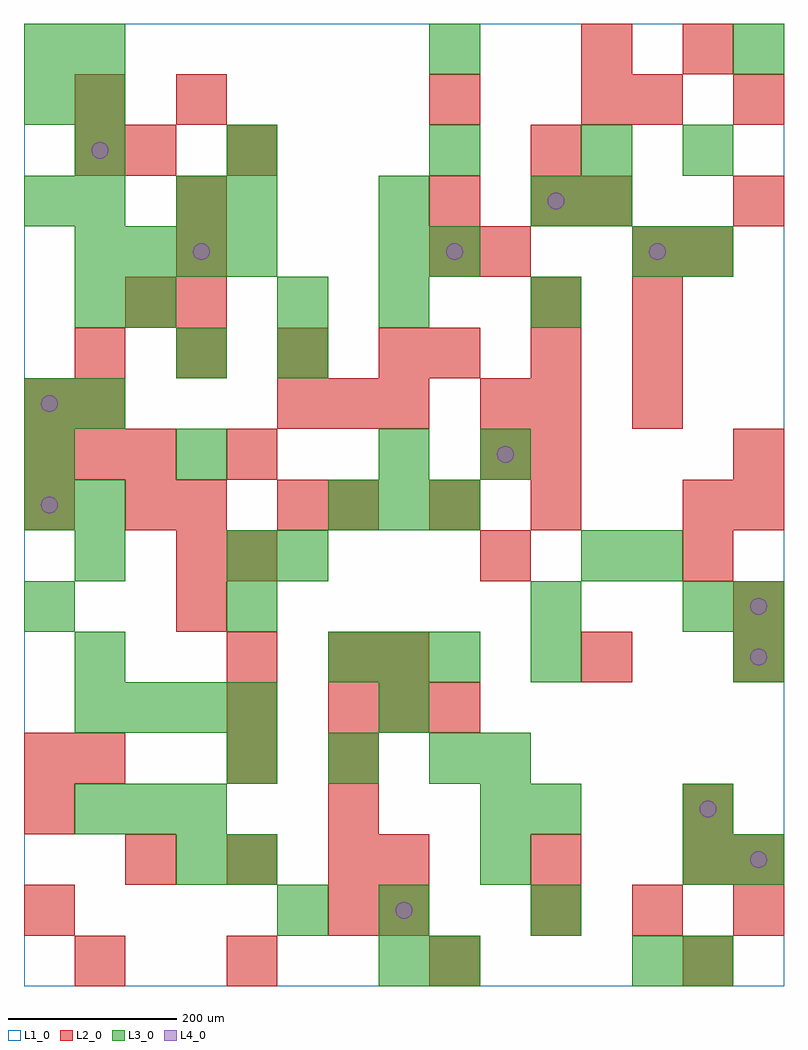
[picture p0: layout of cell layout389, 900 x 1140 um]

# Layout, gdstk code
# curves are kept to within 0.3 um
import gdstk
lib = gdstk.Library(unit=1e-6, precision=1e-09)
def R(c, l, rs):  # rectangles x0, y0, x1, y1
    for r in rs: c.add(gdstk.rectangle(r[:2], r[2:], *l))
def A(c, l, x, y, w, h, nx, ny, dx, dy):  # array of equal rectangles
    R(c, l, [(x+i*dx, y+j*dy, x+i*dx+w, y+j*dy+h) for i in range(nx) for j in range(ny)])
def P(c, l, *ps):  # polygons
    for p in ps: c.add(gdstk.Polygon(p, *l))
L1_0 = (1, 0)
L2_0 = (2, 0)
L3_0 = (3, 0)
L4_0 = (4, 0)

layout389 = lib.new_cell('layout389')
R(layout389, L1_0, [(0,0,900,1140)])
A(layout389, L2_0, 600, 60, 60, 60, 3, 1, 120, 0)
A(layout389, L2_0, 120, 120, 60, 60, 3, 1, 120, 0)
A(layout389, L2_0, 420, 120, 60, 60, 3, 1, 180, 0)
A(layout389, L2_0, 240, 240, 60, 60, 1, 3, 0, 60)
A(layout389, L2_0, 360, 300, 60, 60, 3, 1, 60, 0)
A(layout389, L2_0, 180, 420, 60, 60, 1, 3, 0, 60)
A(layout389, L2_0, 360, 540, 60, 60, 3, 1, 120, 0)
A(layout389, L2_0, 0, 600, 60, 60, 3, 1, 60, 0)
A(layout389, L2_0, 300, 660, 60, 60, 3, 1, 60, 0)
A(layout389, L2_0, 600, 660, 60, 60, 1, 3, 0, 120)
A(layout389, L2_0, 60, 720, 60, 60, 4, 1, 120, 0)
A(layout389, L2_0, 480, 720, 60, 60, 3, 1, 120, 0)
A(layout389, L2_0, 180, 780, 60, 60, 1, 3, 0, 60)
R(layout389, L2_0, [(60,0,120,60), (240,0,300,60), (480,0,540,60), (780,0,840,60), (0,60,60,120), (360,60,420,120), (420,60,480,120), (840,120,900,180), (0,180,60,240), (360,180,420,240), (780,180,840,240), (0,240,60,300), (60,240,120,300), (360,240,420,300), (360,360,420,420), (420,360,480,420), (660,360,720,420), (840,360,900,420), (840,420,900,480), (240,480,300,540), (540,480,600,540), (780,480,840,540), (0,540,60,600), (120,540,180,600), (300,540,360,600), (780,540,840,600), (840,540,900,600), (240,600,300,660), (540,600,600,660), (600,600,660,660), (840,600,900,660), (0,660,60,720), (60,660,120,720), (540,660,600,720), (720,660,780,720), (120,780,180,840), (720,780,780,840), (480,840,540,900), (540,840,600,900), (720,840,780,900), (780,840,840,900), (480,900,540,960), (660,900,720,960), (840,900,900,960), (60,960,120,1020), (120,960,180,1020), (240,960,300,1020), (600,960,660,1020), (60,1020,120,1080), (180,1020,240,1080), (480,1020,540,1080), (660,1020,720,1080), (720,1020,780,1080), (840,1020,900,1080), (660,1080,720,1140), (780,1080,840,1140)])
A(layout389, L3_0, 540, 120, 60, 60, 1, 3, 0, 60)
A(layout389, L3_0, 60, 180, 60, 60, 3, 1, 60, 0)
A(layout389, L3_0, 240, 240, 60, 60, 3, 1, 120, 0)
A(layout389, L3_0, 60, 300, 60, 60, 4, 2, 60, 540)
A(layout389, L3_0, 360, 360, 60, 60, 3, 2, 60, 180)
A(layout389, L3_0, 0, 540, 60, 60, 1, 3, 0, 60)
A(layout389, L3_0, 60, 540, 60, 60, 1, 4, 0, 120)
A(layout389, L3_0, 480, 840, 60, 60, 1, 3, 0, 120)
A(layout389, L3_0, 240, 900, 60, 60, 3, 1, 180, 0)
A(layout389, L3_0, 60, 960, 60, 60, 1, 3, 0, 60)
R(layout389, L3_0, [(420,0,480,60), (480,0,540,60), (720,0,780,60), (780,0,840,60), (300,60,360,120), (420,60,480,120), (600,60,660,120), (180,120,240,180), (240,120,300,180), (780,120,840,180), (840,120,900,180), (600,180,660,240), (780,180,840,240), (420,300,480,360), (60,360,120,420), (600,360,660,420), (840,360,900,420), (0,420,60,480), (240,420,300,480), (600,420,660,480), (780,420,840,480), (840,420,900,480), (60,480,120,540), (240,480,300,540), (300,480,360,540), (660,480,720,540), (720,480,780,540), (180,600,240,660), (420,600,480,660), (540,600,600,660), (180,720,240,780), (300,720,360,780), (120,780,180,840), (300,780,360,840), (420,780,480,840), (600,780,660,840), (420,840,480,900), (720,840,780,900), (780,840,840,900), (0,900,60,960), (180,900,240,960), (660,900,720,960), (240,960,300,1020), (660,960,720,1020), (780,960,840,1020), (0,1020,60,1080), (0,1080,60,1140), (840,1080,900,1140)])
P(layout389, L4_0, [(40,570),(39.239,573.827),(37.071,577.071),(33.827,579.239),(30,580),(26.173,579.239),(22.929,577.071),(20.761,573.827),(20,570),(20.761,566.173),(22.929,562.929),(26.173,560.761),(30,560),(33.827,560.761),(37.071,562.929),(39.239,566.173)],
  [(40,690),(39.239,693.827),(37.071,697.071),(33.827,699.239),(30,700),(26.173,699.239),(22.929,697.071),(20.761,693.827),(20,690),(20.761,686.173),(22.929,682.929),(26.173,680.761),(30,680),(33.827,680.761),(37.071,682.929),(39.239,686.173)],
  [(100,990),(99.239,993.827),(97.071,997.071),(93.827,999.239),(90,1000),(86.173,999.239),(82.929,997.071),(80.761,993.827),(80,990),(80.761,986.173),(82.929,982.929),(86.173,980.761),(90,980),(93.827,980.761),(97.071,982.929),(99.239,986.173)],
  [(220,870),(219.239,873.827),(217.071,877.071),(213.827,879.239),(210,880),(206.173,879.239),(202.929,877.071),(200.761,873.827),(200,870),(200.761,866.173),(202.929,862.929),(206.173,860.761),(210,860),(213.827,860.761),(217.071,862.929),(219.239,866.173)],
  [(460,90),(459.239,93.827),(457.071,97.071),(453.827,99.239),(450,100),(446.173,99.239),(442.929,97.071),(440.761,93.827),(440,90),(440.761,86.173),(442.929,82.929),(446.173,80.761),(450,80),(453.827,80.761),(457.071,82.929),(459.239,86.173)],
  [(520,870),(519.239,873.827),(517.071,877.071),(513.827,879.239),(510,880),(506.173,879.239),(502.929,877.071),(500.761,873.827),(500,870),(500.761,866.173),(502.929,862.929),(506.173,860.761),(510,860),(513.827,860.761),(517.071,862.929),(519.239,866.173)],
  [(580,630),(579.239,633.827),(577.071,637.071),(573.827,639.239),(570,640),(566.173,639.239),(562.929,637.071),(560.761,633.827),(560,630),(560.761,626.173),(562.929,622.929),(566.173,620.761),(570,620),(573.827,620.761),(577.071,622.929),(579.239,626.173)],
  [(640,930),(639.239,933.827),(637.071,937.071),(633.827,939.239),(630,940),(626.173,939.239),(622.929,937.071),(620.761,933.827),(620,930),(620.761,926.173),(622.929,922.929),(626.173,920.761),(630,920),(633.827,920.761),(637.071,922.929),(639.239,926.173)],
  [(760,870),(759.239,873.827),(757.071,877.071),(753.827,879.239),(750,880),(746.173,879.239),(742.929,877.071),(740.761,873.827),(740,870),(740.761,866.173),(742.929,862.929),(746.173,860.761),(750,860),(753.827,860.761),(757.071,862.929),(759.239,866.173)],
  [(820,210),(819.239,213.827),(817.071,217.071),(813.827,219.239),(810,220),(806.173,219.239),(802.929,217.071),(800.761,213.827),(800,210),(800.761,206.173),(802.929,202.929),(806.173,200.761),(810,200),(813.827,200.761),(817.071,202.929),(819.239,206.173)],
  [(880,150),(879.239,153.827),(877.071,157.071),(873.827,159.239),(870,160),(866.173,159.239),(862.929,157.071),(860.761,153.827),(860,150),(860.761,146.173),(862.929,142.929),(866.173,140.761),(870,140),(873.827,140.761),(877.071,142.929),(879.239,146.173)],
  [(880,390),(879.239,393.827),(877.071,397.071),(873.827,399.239),(870,400),(866.173,399.239),(862.929,397.071),(860.761,393.827),(860,390),(860.761,386.173),(862.929,382.929),(866.173,380.761),(870,380),(873.827,380.761),(877.071,382.929),(879.239,386.173)],
  [(880,450),(879.239,453.827),(877.071,457.071),(873.827,459.239),(870,460),(866.173,459.239),(862.929,457.071),(860.761,453.827),(860,450),(860.761,446.173),(862.929,442.929),(866.173,440.761),(870,440),(873.827,440.761),(877.071,442.929),(879.239,446.173)])

lib.write_gds('layout389.gds')
